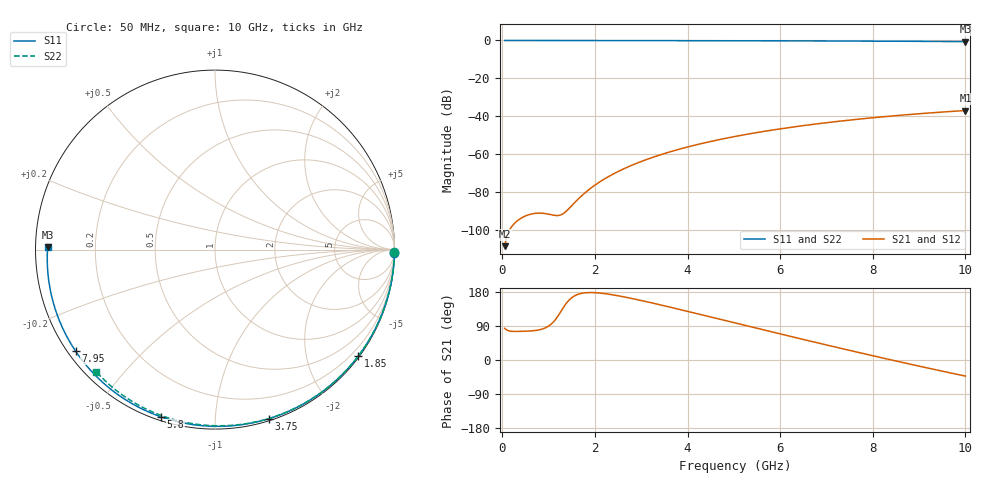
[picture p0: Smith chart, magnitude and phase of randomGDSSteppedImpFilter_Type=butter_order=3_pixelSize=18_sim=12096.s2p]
! freq	dB(S11)	phase(S11)	dB(S12)	phase(S12)
!  dB(S21)	phase(S21)	dB(S22)	phase(S22)
!S-par simulation data
#  GHz  S  DB  R 50
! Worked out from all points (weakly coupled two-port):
!   200 points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, 50 MHz to 10 GHz, reference 50 ohm
!   highest |S21| = -36.98 dB at 10 GHz (marker M1); lowest = -108.6 dB at 50 MHz (marker M2)
!   lowest |S11| = -0.6 dB at 10 GHz (marker M3), VSWR 28.73, Z = 1.74 + j0.349 ohm
!   |S11| at or under -10 dB: nowhere
!   |S22| runs from -0.5 to 0.0 dB; largest |S21 - S12| = 0
!   S11 on the Smith chart (normalised r, x): 50 MHz: open; 1.85 GHz: 0.03, -3.01; 3.75 GHz: 0.02, -1.37; 5.8 GHz: 0.02, -0.73; 7.95 GHz: 0.02, -0.32; 10 GHz: 0.03, +0.01
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0.05  -0.00 -1.0  -108.56 83.4  -108.56 83.4  -0.00 -0.8
0.45  -0.01 -9.1  -93.19 75.8  -93.19 75.8  -0.01 -6.9
0.85  -0.02 -17.1  -91.14 81.2  -91.14 81.2  -0.02 -13.0
1.3  -0.03 -26.0  -91.62 135.0  -91.62 135.0  -0.02 -19.8
1.75  -0.04 -34.8  -81.17 176.7  -81.17 176.7  -0.03 -26.6
1.8  -0.04 -35.7  -80.12 177.5  -80.12 177.5  -0.03 -27.3
1.85  -0.05 -36.7  -79.11 177.9  -79.11 177.9  -0.04 -28.1
2  -0.05 -39.6  -76.35 177.7  -76.35 177.7  -0.04 -30.3
2.15  -0.05 -42.5  -73.92 176.1  -73.92 176.1  -0.04 -32.5
2.5  -0.06 -49.2  -69.17 169.5  -69.17 169.5  -0.05 -37.6
2.9  -0.07 -56.7  -64.82 159.7  -64.82 159.7  -0.06 -43.5
3.4  -0.09 -65.9  -60.45 145.9  -60.45 145.9  -0.07 -50.6
3.75  -0.10 -72.3  -57.87 135.7  -57.87 135.7  -0.08 -55.5
4.4  -0.12 -83.9  -53.85 116.5  -53.85 116.5  -0.09 -64.5
5.05  -0.15 -95.2  -50.55 97.1  -50.55 97.1  -0.11 -73.2
5.8  -0.18 -107.9  -47.40 74.8  -47.40 74.8  -0.14 -83.1
6.7  -0.24 -123.0  -44.30 48.4  -44.30 48.4  -0.18 -94.5
7.3  -0.29 -133.0  -42.56 31.0  -42.56 31.0  -0.22 -101.9
7.95  -0.35 -144.0  -40.90 12.6  -40.90 12.6  -0.26 -109.7
8.35  -0.39 -150.8  -39.99 1.5  -39.99 1.5  -0.29 -114.5
9.2  -0.49 -165.8  -38.30 -21.6  -38.30 -21.6  -0.37 -124.6
10  -0.60 179.2  -36.98 -42.5  -36.98 -42.5  -0.45 -134.1
